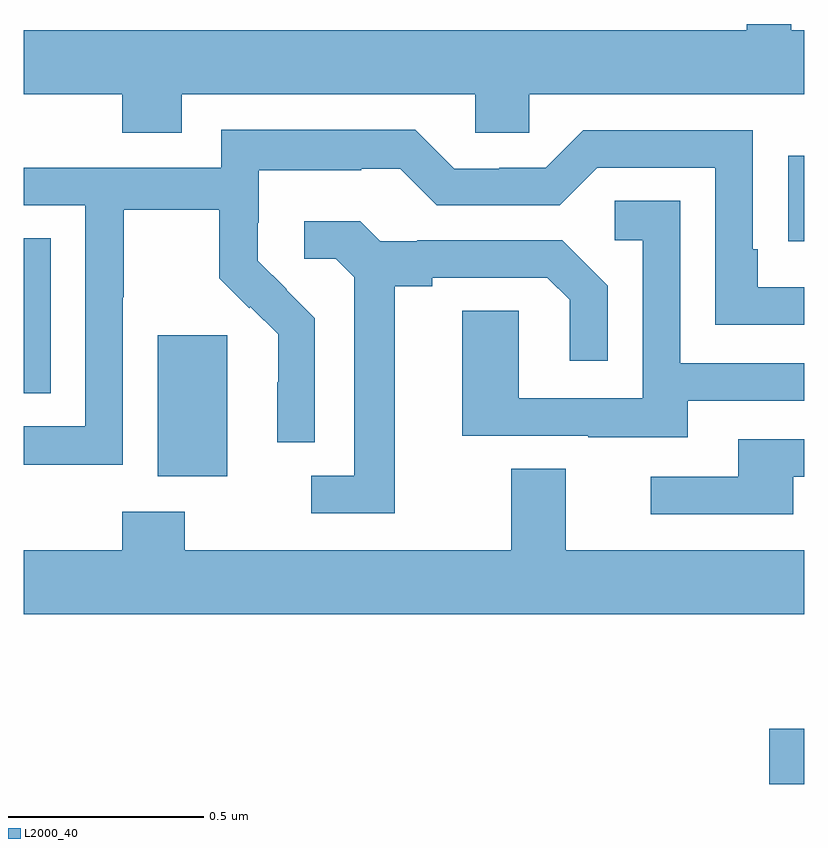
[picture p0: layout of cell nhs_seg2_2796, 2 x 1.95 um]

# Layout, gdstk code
import gdstk
lib = gdstk.Library(unit=1e-6, precision=1e-09)
def R(c, l, rs):  # rectangles x0, y0, x1, y1
    for r in rs: c.add(gdstk.rectangle(r[:2], r[2:], *l))
def P(c, l, *ps):  # polygons
    for p in ps: c.add(gdstk.Polygon(p, *l))
L2000_40 = (2000, 40)

nhs_seg2_2796 = lib.new_cell('nhs_seg2_2796')
R(nhs_seg2_2796, L2000_40, [(146.91,661.853,147,661.995), (145.343,662.642,145.522,663.003), (145,662.854,145.069,663.251), (146.959,663.244,147,663.463)])
P(nhs_seg2_2796, L2000_40, [(145.405,663.62),(146.157,663.62),(146.157,663.522),(146.295,663.522),(146.295,663.62),(147,663.62),(147,663.784),(146.966,663.784),(146.966,663.8),(146.853,663.8),(146.853,663.784),(145,663.784),(145,663.62),(145.253,663.62),(145.253,663.521),(145.405,663.521)],
  [(145.254,663.1),(145.257,663.1),(145.257,663.324),(145.501,663.324),(145.501,663.149),(145.578,663.072),(145.581,663.075),(145.652,663.005),(145.652,662.882),(145.65,662.882),(145.65,662.728),(145.746,662.728),(145.746,663.046),(145.673,663.119),(145.674,663.12),(145.6,663.194),(145.6,663.291),(145.602,663.291),(145.602,663.425),(145.865,663.425),(145.865,663.429),(145.965,663.429),(146.058,663.336),(146.373,663.336),(146.469,663.432),(146.772,663.432),(146.772,663.03),(147,663.03),(147,663.126),(146.881,663.126),(146.881,663.223),(146.868,663.223),(146.868,663.528),(146.433,663.528),(146.337,663.432),(146.219,663.432),(146.219,663.429),(146.103,663.429),(146.003,663.529),(145.506,663.529),(145.506,663.432),(145,663.432),(145,663.336),(145.158,663.336),(145.158,662.769),(145,662.769),(145,662.671),(145.254,662.671)],
  [(146.701,662.835),(147,662.835),(147,662.931),(146.682,662.931),(146.682,663.347),(146.514,663.347),(146.514,663.246),(146.586,663.246),(146.586,662.841),(146.268,662.841),(146.268,663.065),(146.123,663.065),(146.123,662.745),(146.447,662.745),(146.447,662.741),(146.701,662.741)],
  [(145.951,663.128),(146.047,663.128),(146.047,663.15),(146.342,663.15),(146.399,663.093),(146.399,662.937),(146.496,662.937),(146.496,663.13),(146.38,663.246),(146.008,663.246),(146.008,663.243),(145.914,663.243),(145.862,663.295),(145.719,663.295),(145.719,663.198),(145.8,663.198),(145.847,663.151),(145.847,662.643),(145.737,662.643),(145.737,662.547),(145.951,662.547)],
  [(146.971,662.64),(147,662.64),(147,662.736),(146.831,662.736),(146.831,662.64),(146.607,662.64),(146.607,662.544),(146.971,662.544)],
  [(147,662.452),(146.389,662.452),(146.389,662.66),(146.249,662.66),(146.249,662.452),(145.413,662.452),(145.413,662.551),(145.253,662.551),(145.253,662.452),(145,662.452),(145,662.288),(147,662.288)])

lib.write_gds('nhs_seg2_2796.gds')
